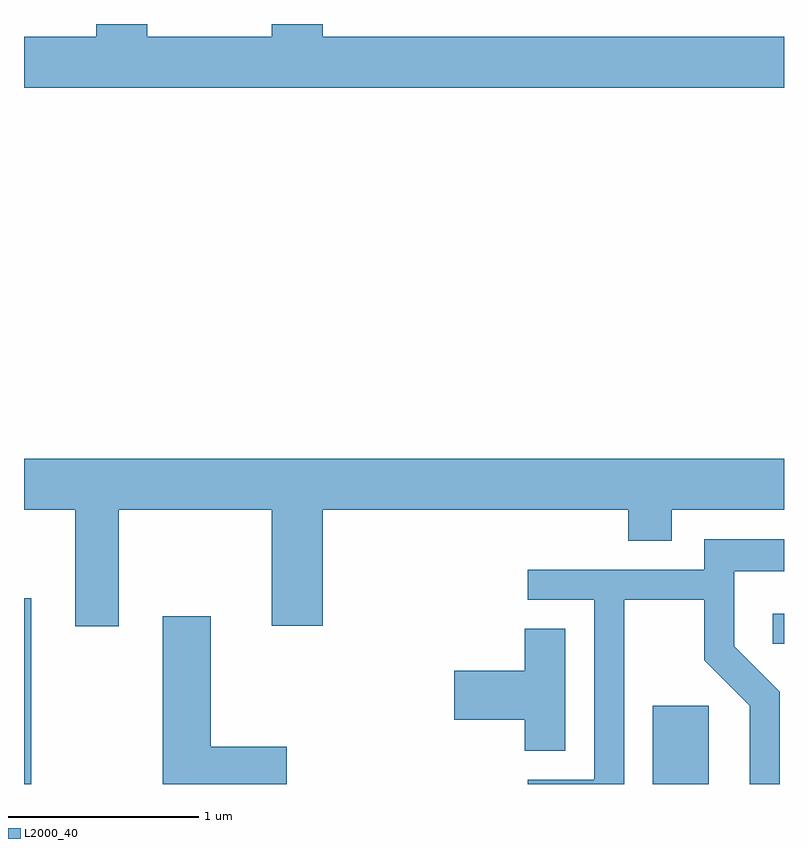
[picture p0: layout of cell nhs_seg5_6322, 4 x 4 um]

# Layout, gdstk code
import gdstk
lib = gdstk.Library(unit=1e-6, precision=1e-09)
def R(c, l, rs):  # rectangles x0, y0, x1, y1
    for r in rs: c.add(gdstk.rectangle(r[:2], r[2:], *l))
def P(c, l, *ps):  # polygons
    for p in ps: c.add(gdstk.Polygon(p, *l))
L2000_40 = (2000, 40)

nhs_seg5_6322 = lib.new_cell('nhs_seg5_6322')
R(nhs_seg5_6322, L2000_40, [(373.611,1402.072,373.649,1403.049), (376.921,1402.072,377.214,1402.484), (377.553,1402.811,377.611,1402.969)])
P(nhs_seg5_6322, L2000_40, [(377.611,1406.004),(375.184,1406.004),(375.184,1406.072),(374.916,1406.072),(374.916,1406.004),(374.259,1406.004),(374.259,1406.072),(373.991,1406.072),(373.991,1406.004),(373.611,1406.004),(373.611,1405.736),(377.611,1405.736)],
  [(374.109,1403.516),(374.916,1403.516),(374.916,1402.906),(375.184,1402.906),(375.184,1403.516),(376.791,1403.516),(376.791,1403.351),(377.019,1403.351),(377.019,1403.516),(377.611,1403.516),(377.611,1403.784),(373.611,1403.784),(373.611,1403.516),(373.881,1403.516),(373.881,1402.901),(374.109,1402.901)],
  [(376.769,1403.041),(377.191,1403.041),(377.191,1402.724),(377.431,1402.484),(377.431,1402.072),(377.589,1402.072),(377.589,1402.557),(377.349,1402.797),(377.349,1403.191),(377.611,1403.191),(377.611,1403.359),(377.191,1403.359),(377.191,1403.199),(376.263,1403.199),(376.263,1403.041),(376.611,1403.041),(376.611,1402.094),(376.263,1402.094),(376.263,1402.072),(376.769,1402.072)],
  [(374.994,1402.269),(374.594,1402.269),(374.594,1402.954),(374.341,1402.954),(374.341,1402.072),(374.994,1402.072)],
  [(376.459,1402.889),(376.246,1402.889),(376.246,1402.669),(375.876,1402.669),(375.876,1402.411),(376.246,1402.411),(376.246,1402.246),(376.459,1402.246)])

lib.write_gds('nhs_seg5_6322.gds')
